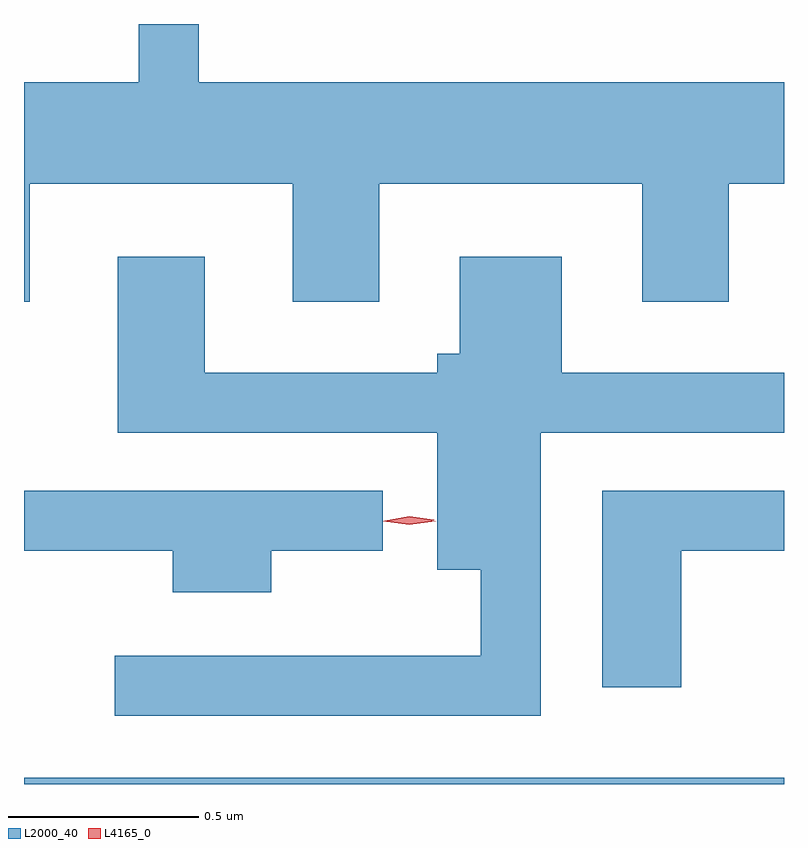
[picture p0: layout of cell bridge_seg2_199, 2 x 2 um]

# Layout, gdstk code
import gdstk
lib = gdstk.Library(unit=1e-6, precision=1e-09)
def R(c, l, rs):  # rectangles x0, y0, x1, y1
    for r in rs: c.add(gdstk.rectangle(r[:2], r[2:], *l))
def P(c, l, *ps):  # polygons
    for p in ps: c.add(gdstk.Polygon(p, *l))
L2000_40 = (2000, 40)
L4165_0 = (4165, 0)

bridge_seg2_199 = lib.new_cell('bridge_seg2_199')
R(bridge_seg2_199, L2000_40, [(797.254,1022.317,799.254,1022.334)])
P(bridge_seg2_199, L2000_40, [(797.269,1023.896),(797.961,1023.896),(797.961,1023.586),(798.189,1023.586),(798.189,1023.896),(798.881,1023.896),(798.881,1023.586),(799.109,1023.586),(799.109,1023.896),(799.254,1023.896),(799.254,1024.164),(797.714,1024.164),(797.714,1024.317),(797.556,1024.317),(797.556,1024.164),(797.254,1024.164),(797.254,1023.586),(797.269,1023.586)],
  [(798.614,1023.241),(799.254,1023.241),(799.254,1023.399),(798.669,1023.399),(798.669,1023.704),(798.401,1023.704),(798.401,1023.449),(798.341,1023.449),(798.341,1023.399),(797.729,1023.399),(797.729,1023.704),(797.501,1023.704),(797.501,1023.241),(798.341,1023.241),(798.341,1022.881),(798.456,1022.881),(798.456,1022.654),(797.493,1022.654),(797.493,1022.496),(798.614,1022.496)],
  [(797.904,1022.931),(798.198,1022.931),(798.198,1023.089),(797.254,1023.089),(797.254,1022.931),(797.646,1022.931),(797.646,1022.821),(797.904,1022.821)],
  [(798.984,1022.931),(799.254,1022.931),(799.254,1023.089),(798.776,1023.089),(798.776,1022.571),(798.984,1022.571)])
P(bridge_seg2_199, L4165_0, [(798.268,1023.001),(798.203,1023.009),(798.203,1023.01),(798.203,1023.01),(798.268,1023.021),(798.332,1023.012),(798.333,1023.012),(798.332,1023.011)],
  [(798.268,1022.999),(798.2,1023.008),(798.2,1023.009),(798.2,1023.009),(798.268,1023.019),(798.336,1023.009),(798.337,1023.009),(798.336,1023.008)])

lib.write_gds('bridge_seg2_199.gds')
